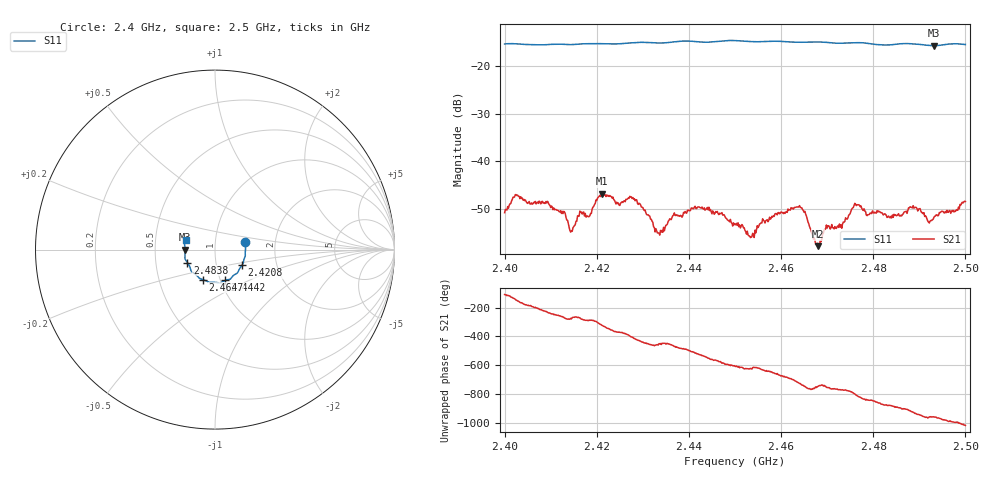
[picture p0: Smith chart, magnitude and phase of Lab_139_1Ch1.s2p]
# Hz S RI R 50
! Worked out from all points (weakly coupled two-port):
!   601 points, 2.4 GHz to 2.5 GHz, reference 50 ohm
!   highest |S21| = -46.87 dB at 2.4212 GHz (marker M1); lowest = -57.9 dB at 2.468 GHz (marker M2)
!   lowest |S11| = -15.6 dB at 2.4932 GHz (marker M3), VSWR 1.40, Z = 35.8 - j0.0769 ohm
!   |S11| at or under -10 dB: start of sweep to end of sweep
!   S12 and S22 are empty: the file has one direction only
!   S11 on the Smith chart (normalised r, x): 2.4 GHz: 1.40, +0.12; 2.4208 GHz: 1.33, -0.24; 2.4442 GHz: 1.05, -0.37; 2.4647 GHz: 0.83, -0.29; 2.4838 GHz: 0.73, -0.11; 2.5 GHz: 0.72, +0.08
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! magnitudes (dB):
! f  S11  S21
! 2.4 GHz  -15.3  -50.9
! 2.4023 GHz  -15.2  -47.0
! 2.409 GHz  -15.4  -48.5
! 2.4145 GHz  -15.4  -54.7
! 2.4167 GHz  -15.2  -50.7
! 2.4183 GHz  -15.2  -51.7
! 2.4208 GHz  -15.2  -47.4
! 2.4212 GHz  -15.2  -46.9
! 2.4282 GHz  -15.0  -47.9
! 2.4333 GHz  -15.0  -55.1
! 2.4442 GHz  -14.9  -50.3
! 2.45 GHz  -14.5  -53.3
! 2.4537 GHz  -14.8  -55.9
! 2.4647 GHz  -14.9  -50.2
! 2.4667 GHz  -14.8  -55.2
! 2.468 GHz  -14.8  -57.9
! 2.4763 GHz  -15.0  -49.4
! 2.4833 GHz  -15.5  -51.6
! 2.4838 GHz  -15.4  -51.6
! 2.4885 GHz  -15.2  -49.8
! 2.4932 GHz  -15.6  -51.8
! 2.5 GHz  -15.4  -48.5
